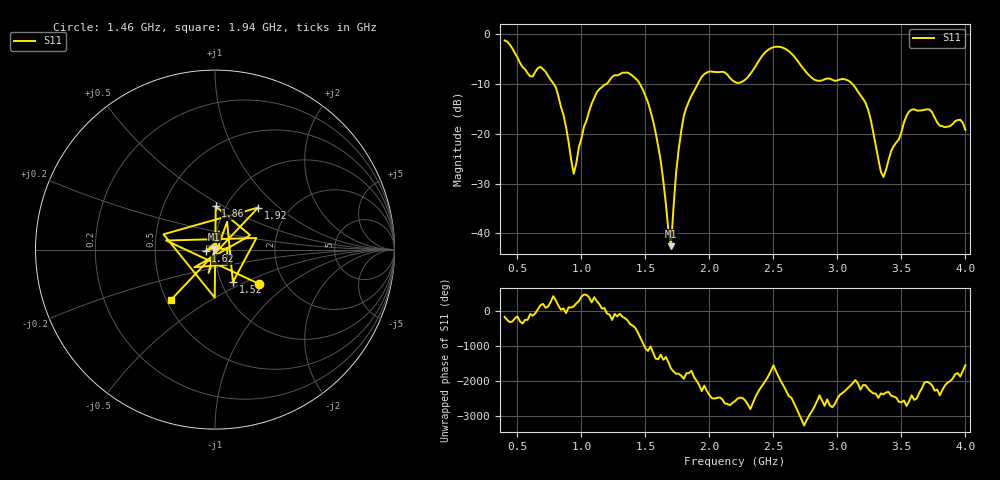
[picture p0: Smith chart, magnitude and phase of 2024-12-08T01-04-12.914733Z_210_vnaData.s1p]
!Created with skrf (http://scikit-rf.org).
# Hz S RI R 50.0
!freq ReS11 ImS11
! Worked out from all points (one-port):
!   181 points, 400 MHz to 4 GHz, reference 50 ohm
!   lowest |S11| = -42.5 dB at 1.7 GHz (marker M1), VSWR 1.02, Z = 49.3 + j0.324 ohm
!   |S11| at or under -10 dB: 783.3 MHz to 1.199 GHz (415.4 MHz wide, 41.9 % of centre); 1.456 GHz to 1.91 GHz (453.5 MHz wide, 26.9 % of centre); 3.117 GHz to end of sweep
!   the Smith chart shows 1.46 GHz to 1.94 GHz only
!   S11 on the Smith chart (normalised r, x): 1.46 GHz: 1.49, -0.63; 1.52 GHz: 1.14, -0.43; 1.62 GHz: 0.90, -0.02; 1.86 GHz: 0.90, +0.46; 1.92 GHz: 1.40, +0.74; 1.94 GHz: 0.53, -0.34
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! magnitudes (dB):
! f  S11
! 400 MHz  -1.3
! 600 MHz  -8.5
! 720 MHz  -7.6
! 800 MHz  -10.7
! 860 MHz  -16.2
! 940 MHz  -28.0
! 1.02 GHz  -18.6
! 1.12 GHz  -11.7
! 1.3 GHz  -8.1
! 1.46 GHz  -10.2
! 1.52 GHz  -13.7
! 1.62 GHz  -25.5
! 1.7 GHz  -42.5
! 1.74 GHz  -27.8
! 1.76 GHz  -23.1
! 1.8 GHz  -16.4
! 1.86 GHz  -12.4
! 1.92 GHz  -9.5
! 1.94 GHz  -8.6
! 2.2 GHz  -9.6
! 2.48 GHz  -2.9
! 2.66 GHz  -4.4
! 2.82 GHz  -9.2
! 3.1 GHz  -9.6
! 3.24 GHz  -15.2
! 3.36 GHz  -28.7
! 3.56 GHz  -15.5
! 4 GHz  -19.2
